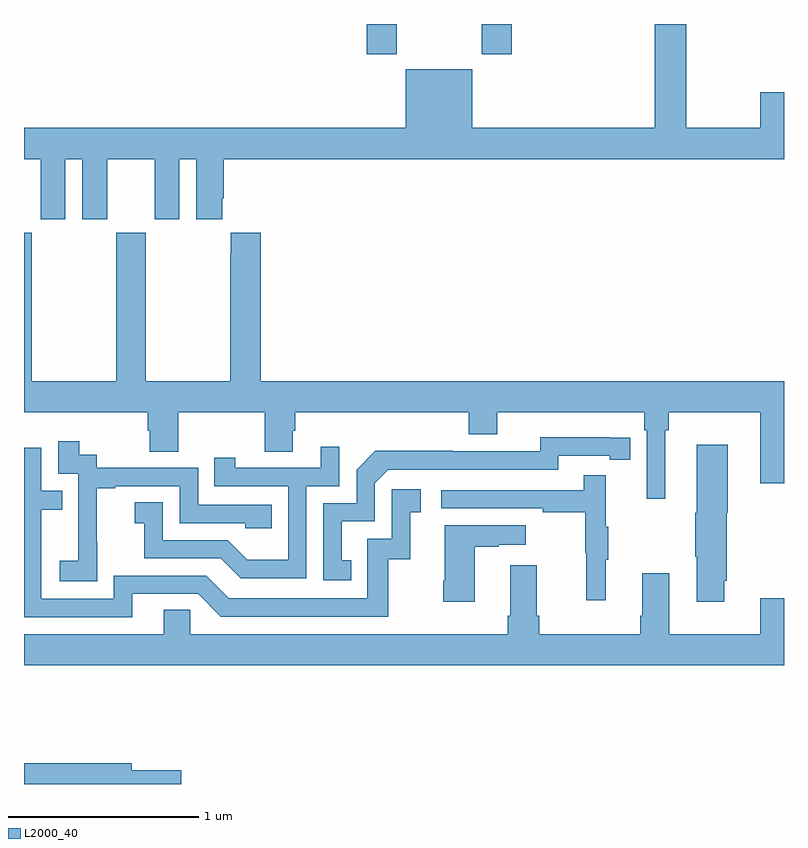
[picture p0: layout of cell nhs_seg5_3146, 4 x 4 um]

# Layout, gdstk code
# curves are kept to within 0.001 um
import gdstk
lib = gdstk.Library(unit=1e-6, precision=1e-09)
def R(c, l, rs):  # rectangles x0, y0, x1, y1
    for r in rs: c.add(gdstk.rectangle(r[:2], r[2:], *l))
def P(c, l, *ps):  # polygons
    for p in ps: c.add(gdstk.Polygon(p, *l))
L2000_40 = (2000, 40)

nhs_seg5_3146 = lib.new_cell('nhs_seg5_3146')
R(nhs_seg5_3146, L2000_40, [(294.803,862.641,294.963,862.799), (295.408,862.641,295.568,862.799)])
P(nhs_seg5_3146, L2000_40, [(293.218,862.088),(293.306,862.088),(293.306,861.771),(293.437,861.771),(293.437,862.088),(293.687,862.088),(293.687,861.771),(293.818,861.771),(293.818,862.088),(293.906,862.088),(293.906,861.771),(294.043,861.771),(294.043,861.883),(294.05,861.883),(294.05,862.088),(297,862.088),(297,862.441),(296.876,862.441),(296.876,862.252),(296.485,862.252),(296.485,862.799),(296.321,862.799),(296.321,862.252),(295.36,862.252),(295.36,862.561),(295.01,862.561),(295.01,862.252),(293,862.252),(293,862.088),(293.087,862.088),(293.087,861.771),(293.218,861.771)],
  [(296.374,860.66),(296.393,860.66),(296.393,860.756),(296.876,860.756),(296.876,860.382),(297,860.382),(297,860.92),(294.245,860.92),(294.245,861.7),(294.089,861.7),(294.089,861.587),(294.085,861.587),(294.085,860.92),(293.64,860.92),(293.64,861.7),(293.485,861.7),(293.485,860.92),(293.04,860.92),(293.04,861.7),(293,861.7),(293,860.756),(293.651,860.756),(293.651,860.658),(293.663,860.658),(293.663,860.548),(293.811,860.548),(293.811,860.756),(294.268,860.756),(294.268,860.548),(294.415,860.548),(294.415,860.658),(294.428,860.658),(294.428,860.756),(295.34,860.756),(295.34,860.639),(295.492,860.639),(295.492,860.756),(296.264,860.756),(296.264,860.66),(296.277,860.66),(296.277,860.301),(296.374,860.301)],
  [(294.722,859.977),(294.673,859.977),(294.673,860.181),(294.846,860.181),(294.846,860.382),(294.918,860.454),(295.812,860.454),(295.812,860.526),(296.084,860.526),(296.084,860.506),(296.192,860.506),(296.192,860.622),(295.716,860.623),(295.716,860.55),(295.256,860.55),(295.256,860.552),(294.848,860.552),(294.75,860.454),(294.75,860.277),(294.576,860.277),(294.576,859.872),(294.722,859.872)],
  [(293.385,860.071),(293.384,860.071),(293.384,860.355),(293.479,860.355),(293.479,860.367),(293.82,860.367),(293.82,860.172),(294.165,860.172),(294.165,860.145),(294.305,860.145),(294.305,860.268),(293.916,860.268),(293.916,860.463),(293.382,860.463),(293.382,860.532),(293.29,860.532),(293.29,860.602),(293.181,860.602),(293.181,860.433),(293.286,860.433),(293.286,860.204),(293.285,860.204),(293.285,859.975),(293.187,859.975),(293.187,859.865),(293.385,859.865)],
  [(296.686,859.87),(296.699,859.87),(296.699,860.226),(296.704,860.226),(296.704,860.584),(296.54,860.584),(296.54,860.226),(296.533,860.226),(296.533,859.996),(296.54,859.996),(296.54,859.758),(296.686,859.758)],
  [(294.486,860.367),(294.66,860.367),(294.66,860.575),(294.563,860.575),(294.563,860.463),(294.112,860.463),(294.112,860.515),(294.001,860.515),(294.001,860.367),(294.39,860.367),(294.39,859.978),(294.176,859.978),(294.072,860.082),(293.73,860.082),(293.73,860.281),(293.583,860.281),(293.583,860.171),(293.632,860.171),(293.632,859.986),(294.035,859.986),(294.14,859.881),(294.486,859.881)],
  [(293.569,859.8),(293.916,859.8),(294.036,859.68),(294.916,859.68),(294.916,859.983),(295.034,859.983),(295.034,860.229),(295.087,860.229),(295.087,860.35),(294.936,860.35),(294.936,860.091),(294.807,860.091),(294.807,859.776),(294.078,859.776),(293.958,859.896),(293.472,859.896),(293.472,859.773),(293.091,859.773),(293.091,860.242),(293.201,860.242),(293.201,860.343),(293.091,860.343),(293.091,860.568),(293,860.568),(293,859.677),(293.569,859.677)],
  [(296.063,859.979),(296.074,859.979),(296.074,860.153),(296.063,860.153),(296.063,860.425),(295.945,860.425),(295.945,860.346),(295.197,860.346),(295.197,860.25),(295.729,860.25),(295.729,860.23),(295.953,860.23),(295.953,860.016),(295.96,860.016),(295.96,859.767),(296.063,859.767)],
  [(295.372,860.047),(295.499,860.047),(295.499,860.057),(295.642,860.057),(295.642,860.161),(295.214,860.161),(295.214,859.87),(295.207,859.87),(295.207,859.758),(295.372,859.758)],
  [(296.255,859.909),(296.255,859.684),(296.243,859.684),(296.243,859.588),(295.712,859.588),(295.712,859.684),(295.699,859.684),(295.699,859.951),(295.559,859.951),(295.559,859.684),(295.547,859.684),(295.547,859.588),(293.874,859.588),(293.874,859.715),(293.735,859.715),(293.735,859.588),(293,859.588),(293,859.424),(297,859.424),(297,859.777),(296.876,859.777),(296.876,859.588),(296.395,859.588),(296.395,859.909)],
  [(293.827,858.872),(293.566,858.872),(293.566,858.908),(293,858.908),(293,858.799),(293.827,858.799)])

lib.write_gds('nhs_seg5_3146.gds')
